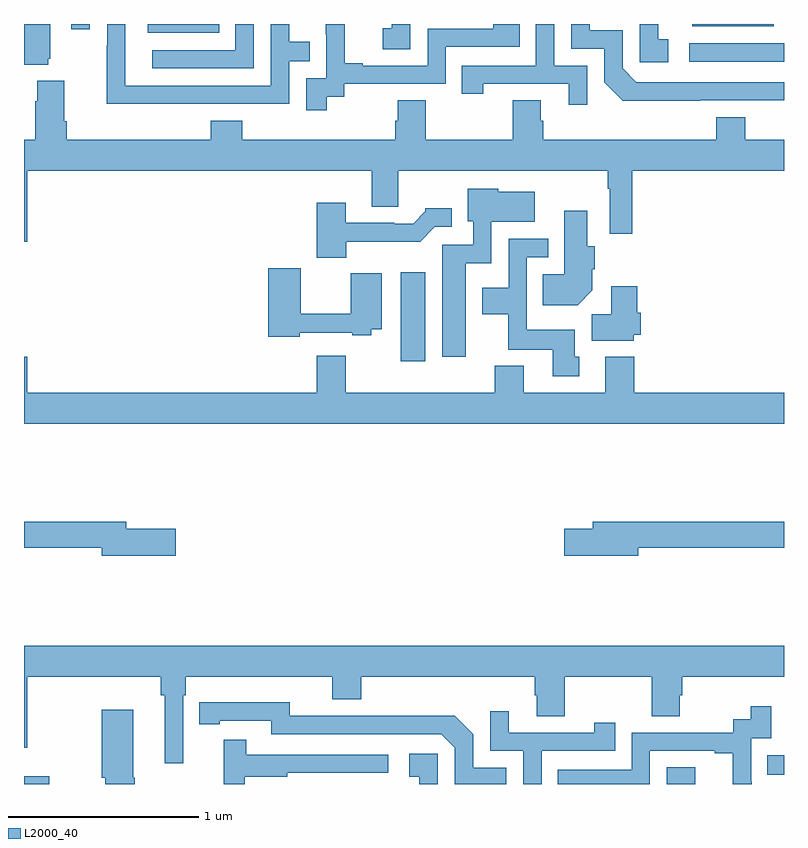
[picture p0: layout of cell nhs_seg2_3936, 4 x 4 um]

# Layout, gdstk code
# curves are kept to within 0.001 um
import gdstk
lib = gdstk.Library(unit=1e-6, precision=1e-09)
def R(c, l, rs):  # rectangles x0, y0, x1, y1
    for r in rs: c.add(gdstk.rectangle(r[:2], r[2:], *l))
def P(c, l, *ps):  # polygons
    for p in ps: c.add(gdstk.Polygon(p, *l))
L2000_40 = (2000, 40)

nhs_seg2_3936 = lib.new_cell('nhs_seg2_3936')
R(nhs_seg2_3936, L2000_40, [(321,585.8,321.133,585.841), (324.384,585.8,324.532,585.889), (324.913,585.85,325,585.951), (322.982,588.024,323.113,588.493), (324.501,589.602,325,589.698), (321.65,589.754,322.028,589.8), (321.249,589.773,321.345,589.8), (324.518,589.787,324.946,589.8)])
P(nhs_seg2_3936, L2000_40, [(323.964,589.581),(323.79,589.581),(323.79,589.8),(323.694,589.8),(323.694,589.581),(323.305,589.581),(323.305,589.434),(323.416,589.434),(323.416,589.485),(323.867,589.485),(323.867,589.374),(323.964,589.374)],
  [(324.391,589.719),(324.338,589.719),(324.338,589.8),(324.24,589.8),(324.24,589.599),(324.391,589.599)],
  [(321.899,589.38),(322.395,589.38),(322.395,589.605),(322.505,589.605),(322.505,589.706),(322.395,589.706),(322.395,589.8),(322.299,589.8),(322.299,589.476),(321.534,589.476),(321.534,589.8),(321.438,589.8),(321.438,589.685),(321.436,589.685),(321.436,589.379),(321.899,589.379)],
  [(322.209,589.8),(322.113,589.8),(322.113,589.662),(321.675,589.662),(321.675,589.566),(322.209,589.566)],
  [(322.594,589.417),(322.686,589.417),(322.686,589.485),(323.22,589.485),(323.22,589.68),(323.609,589.68),(323.609,589.8),(323.469,589.8),(323.469,589.776),(323.124,589.776),(323.124,589.581),(322.783,589.581),(322.783,589.594),(322.688,589.594),(322.688,589.8),(322.589,589.8),(322.589,589.745),(322.59,589.745),(322.59,589.515),(322.485,589.515),(322.485,589.347),(322.594,589.347)],
  [(323.034,589.8),(322.936,589.8),(322.936,589.777),(322.887,589.777),(322.887,589.668),(323.034,589.668)],
  [(324.56,589.398),(325,589.398),(325,589.494),(324.222,589.494),(324.15,589.566),(324.15,589.767),(323.977,589.767),(323.977,589.8),(323.88,589.8),(323.88,589.671),(324.054,589.671),(324.054,589.494),(324.152,589.397)],
  [(321.128,589.617),(321.139,589.617),(321.139,589.8),(321,589.8),(321,589.586),(321.128,589.586)],
  [(321.016,589.028),(322.829,589.028),(322.829,588.838),(322.969,588.838),(322.969,589.028),(324.072,589.028),(324.072,588.932),(324.084,588.932),(324.084,588.696),(324.2,588.696),(324.2,589.028),(325,589.028),(325,589.192),(324.796,589.192),(324.796,589.309),(324.644,589.309),(324.644,589.192),(323.732,589.192),(323.732,589.29),(323.719,589.29),(323.719,589.4),(323.572,589.4),(323.572,589.192),(323.115,589.192),(323.115,589.4),(322.967,589.4),(322.967,589.29),(322.955,589.29),(322.955,589.192),(322.148,589.192),(322.148,589.291),(321.983,589.291),(321.983,589.192),(321.224,589.192),(321.224,589.288),(321.211,589.288),(321.211,589.501),(321.071,589.501),(321.071,589.394),(321.059,589.394),(321.059,589.192),(321,589.192),(321,588.654),(321.016,588.654)],
  [(323.326,588.542),(323.46,588.542),(323.46,588.758),(323.689,588.758),(323.689,588.916),(323.496,588.916),(323.496,588.934),(323.336,588.934),(323.336,588.762),(323.364,588.762),(323.364,588.639),(323.201,588.639),(323.201,588.048),(323.326,588.048)],
  [(322.696,588.654),(323.085,588.654),(323.163,588.732),(323.251,588.732),(323.251,588.829),(323.112,588.829),(323.112,588.814),(323.048,588.75),(322.949,588.75),(322.949,588.753),(322.693,588.753),(322.693,588.859),(322.541,588.859),(322.541,588.569),(322.696,588.569)],
  [(323.992,588.398),(323.992,588.508),(324.005,588.508),(324.005,588.63),(323.965,588.63),(323.965,588.817),(323.843,588.817),(323.843,588.484),(323.731,588.484),(323.731,588.32),(323.914,588.32)],
  [(323.923,588.048),(323.899,588.048),(323.899,588.19),(323.646,588.19),(323.646,588.573),(323.758,588.573),(323.758,588.669),(323.55,588.669),(323.55,588.412),(323.411,588.412),(323.411,588.272),(323.548,588.272),(323.548,588.086),(323.783,588.086),(323.783,587.946),(323.923,587.946)],
  [(322.452,588.174),(322.727,588.174),(322.727,588.162),(322.827,588.162),(322.827,588.194),(322.882,588.194),(322.882,588.487),(322.72,588.487),(322.72,588.275),(322.456,588.275),(322.456,588.514),(322.286,588.514),(322.286,588.154),(322.452,588.154)],
  [(324.21,588.165),(324.245,588.165),(324.245,588.279),(324.227,588.279),(324.227,588.421),(324.092,588.421),(324.092,588.272),(323.987,588.272),(323.987,588.134),(324.21,588.134)],
  [(325,587.86),(324.212,587.86),(324.212,588.049),(324.059,588.049),(324.059,587.86),(323.629,587.86),(323.629,588.001),(323.477,588.001),(323.477,587.86),(322.693,587.86),(322.693,588.055),(322.541,588.055),(322.541,587.86),(321.016,587.86),(321.016,588.049),(321,588.049),(321,587.696),(325,587.696)],
  [(321.799,587.144),(321.538,587.144),(321.538,587.18),(321,587.18),(321,587.044),(321.41,587.044),(321.41,587.002),(321.799,587.002)],
  [(324.232,587.044),(325,587.044),(325,587.18),(323.993,587.18),(323.993,587.144),(323.844,587.144),(323.844,587.002),(324.232,587.002)],
  [(321.837,586.268),(321.851,586.268),(321.851,586.364),(322.622,586.364),(322.622,586.247),(322.775,586.247),(322.775,586.364),(323.687,586.364),(323.687,586.266),(323.699,586.266),(323.699,586.156),(323.847,586.156),(323.847,586.364),(324.304,586.364),(324.304,586.156),(324.451,586.156),(324.451,586.266),(324.464,586.266),(324.464,586.364),(325,586.364),(325,586.528),(321,586.528),(321,585.99),(321.016,585.99),(321.016,586.364),(321.721,586.364),(321.721,586.268),(321.74,586.268),(321.74,585.909),(321.837,585.909)],
  [(323.538,585.885),(323.364,585.885),(323.364,586.062),(323.266,586.16),(322.858,586.16),(322.858,586.158),(322.398,586.158),(322.398,586.231),(321.922,586.23),(321.922,586.114),(322.03,586.114),(322.03,586.134),(322.302,586.134),(322.302,586.062),(323.196,586.062),(323.268,585.99),(323.268,585.8),(323.538,585.8)],
  [(324.294,585.975),(324.635,585.975),(324.635,585.963),(324.731,585.963),(324.731,585.8),(324.83,585.8),(324.83,585.812),(324.828,585.812),(324.828,586.041),(324.933,586.041),(324.933,586.21),(324.825,586.21),(324.825,586.14),(324.732,586.14),(324.732,586.071),(324.198,586.071),(324.198,585.876),(323.809,585.876),(323.809,585.8),(324.294,585.8)],
  [(321.582,585.834),(321.574,585.834),(321.574,586.192),(321.41,586.192),(321.41,585.834),(321.428,585.834),(321.428,585.8),(321.582,585.8)],
  [(323.724,585.975),(324.113,585.975),(324.113,586.123),(324.002,586.123),(324.002,586.071),(323.551,586.071),(323.551,586.183),(323.454,586.183),(323.454,585.975),(323.628,585.975),(323.628,585.8),(323.724,585.8)],
  [(322.162,585.838),(322.385,585.838),(322.385,585.858),(322.918,585.858),(322.918,585.954),(322.169,585.954),(322.169,586.033),(322.052,586.033),(322.052,585.8),(322.162,585.8)],
  [(323.178,585.958),(323.028,585.958),(323.028,585.837),(323.081,585.837),(323.081,585.8),(323.178,585.8)])

lib.write_gds('nhs_seg2_3936.gds')
